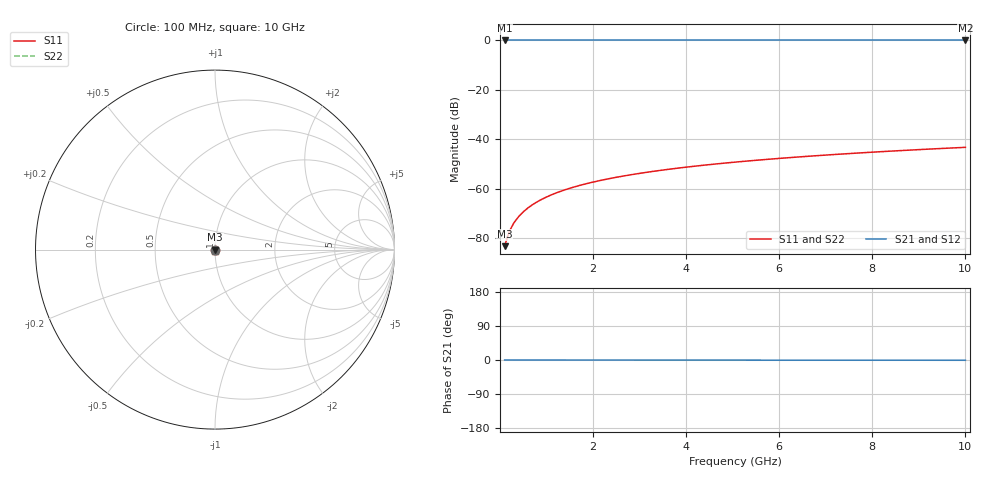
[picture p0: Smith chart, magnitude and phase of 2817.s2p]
# Hz S RI R 50.00
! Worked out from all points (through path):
!   100 points, 100 MHz to 10 GHz, reference 50 ohm
!   highest |S21| = 0.00 dB at 100 MHz (marker M1); lowest = 0.0 dB at 10 GHz (marker M2)
!   lowest |S11| = -83.2 dB at 100 MHz (marker M3), VSWR 1.00, Z = 50 - j0.00681 ohm
!   |S11| at or under -10 dB: start of sweep to end of sweep
!   |S22| runs from -83.2 to -43.2 dB; largest |S21 - S12| = 0
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1e8  1.12e-05 -6.81e-05  1 -0.00012  1 -0.00012  1.12e-05 -6.81e-05
2e8  1.11e-05 -0.000136  1 -0.000241  1 -0.000241  1.11e-05 -0.000136
3e8  1.1e-05 -0.000204  1 -0.000361  1 -0.000361  1.1e-05 -0.000204
4e8  1.09e-05 -0.000273  1 -0.000481  1 -0.000481  1.09e-05 -0.000273
5e8  1.08e-05 -0.000341  1 -0.000602  1 -0.000602  1.08e-05 -0.000341
6e8  1.07e-05 -0.000409  1 -0.000722  1 -0.000722  1.07e-05 -0.000409
7e8  1.05e-05 -0.000477  1 -0.000842  1 -0.000842  1.05e-05 -0.000477
9e8  1.01e-05 -0.000613  1 -0.00108  1 -0.00108  1.01e-05 -0.000613
1e9  9.91e-06 -0.000682  1 -0.0012  1 -0.0012  9.91e-06 -0.000682
1.2e9  9.42e-06 -0.000818  1 -0.00144  1 -0.00144  9.42e-06 -0.000818
1.5e9  8.55e-06 -0.00102  1 -0.00181  1 -0.00181  8.55e-06 -0.00102
1.8e9  7.53e-06 -0.00123  1 -0.00217  1 -0.00217  7.53e-06 -0.00123
2.1e9  6.35e-06 -0.00143  1 -0.00253  1 -0.00253  6.35e-06 -0.00143
2.5e9  4.55e-06 -0.00171  1 -0.00301  1 -0.00301  4.55e-06 -0.00171
2.9e9  2.47e-06 -0.00198  1 -0.0035  1 -0.0035  2.47e-06 -0.00198
3.4e9  -4.97e-07 -0.00232  1 -0.0041  1 -0.0041  -4.97e-07 -0.00232
4.2e9  -6.13e-06 -0.00287  1 -0.00507  1 -0.00507  -6.13e-06 -0.00287
5.1e9  -1.38e-05 -0.00349  1 -0.00616  1 -0.00616  -1.38e-05 -0.00349
5.9e9  -2.17e-05 -0.00404  0.9999 -0.00713  0.9999 -0.00713  -2.17e-05 -0.00404
6.7e9  -3.07e-05 -0.0046  0.9999 -0.00811  0.9999 -0.00811  -3.07e-05 -0.0046
8.4e9  -5.36e-05 -0.00578  0.9999 -0.0102  0.9999 -0.0102  -5.36e-05 -0.00578
1e10  -7.96e-05 -0.00689  0.9999 -0.0122  0.9999 -0.0122  -7.96e-05 -0.00689
